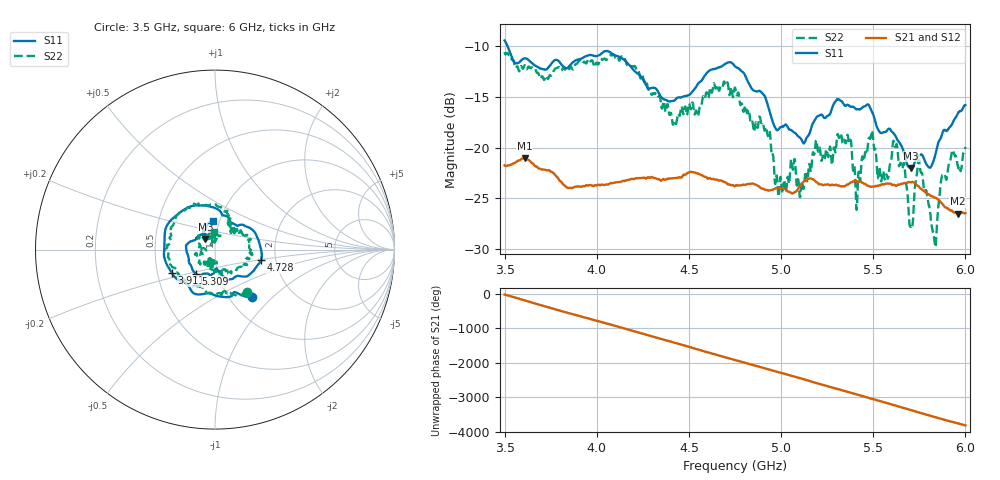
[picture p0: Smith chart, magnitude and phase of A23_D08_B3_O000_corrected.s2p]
! Created with skrf 1.9.0 (http://scikit-rf.org).
# Hz S RI R 50.0
!freq ReS11 ImS11 ReS21 ImS21 ReS12 ImS12 ReS22 ImS22
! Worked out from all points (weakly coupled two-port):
!   1601 points, 3.5 GHz to 6 GHz, reference 50 ohm
!   highest |S21| = -21.06 dB at 3.609 GHz (marker M1); lowest = -26.5 dB at 5.958 GHz (marker M2)
!   lowest |S11| = -22.0 dB at 5.706 GHz (marker M3), VSWR 1.17, Z = 44.6 + j5.27 ohm
!   |S11| at or under -10 dB: 3.516 GHz to end of sweep
!   |S22| runs from -29.7 to -10.6 dB; largest |S21 - S12| = 0.0011
!   S11 on the Smith chart (normalised r, x): 3.5 GHz: 1.27, -0.76; 3.911 GHz: 0.59, -0.17; 4.728 GHz: 1.67, -0.21; 5.309 GHz: 0.78, -0.22; 6 GHz: 0.93, +0.31
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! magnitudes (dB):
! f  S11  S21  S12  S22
! 3.5 GHz  -9.4  -21.8  -21.7  -10.6
! 3.609 GHz  -11.2  -21.1  -21.1  -11.9
! 3.911 GHz  -11.3  -23.9  -23.8  -11.5
! 3.917 GHz  -11.2  -23.9  -23.9  -11.7
! 4.334 GHz  -14.6  -23.1  -23.1  -15.0
! 4.422 GHz  -15.4  -23.0  -23.0  -17.4
! 4.728 GHz  -11.6  -23.7  -23.6  -14.1
! 4.75 GHz  -12.0  -23.8  -23.7  -14.1
! 4.93 GHz  -16.0  -24.2  -24.2  -18.8
! 4.978 GHz  -18.3  -24.0  -24.0  -23.0
! 5.167 GHz  -17.8  -23.1  -23.1  -21.4
! 5.309 GHz  -15.2  -23.7  -23.7  -18.8
! 5.416 GHz  -16.2  -23.4  -23.4  -23.8
! 5.486 GHz  -16.2  -23.9  -23.8  -19.0
! 5.584 GHz  -18.2  -23.6  -23.5  -22.5
! 5.62 GHz  -18.9  -23.8  -23.8  -19.9
! 5.706 GHz  -22.0  -23.4  -23.4  -27.8
! 5.745 GHz  -20.8  -23.8  -23.8  -21.2
! 5.831 GHz  -21.1  -24.9  -24.9  -29.1
! 5.875 GHz  -18.6  -25.6  -25.5  -22.7
! 5.958 GHz  -16.7  -26.5  -26.5  -21.8
! 6 GHz  -15.8  -26.5  -26.4  -19.9
